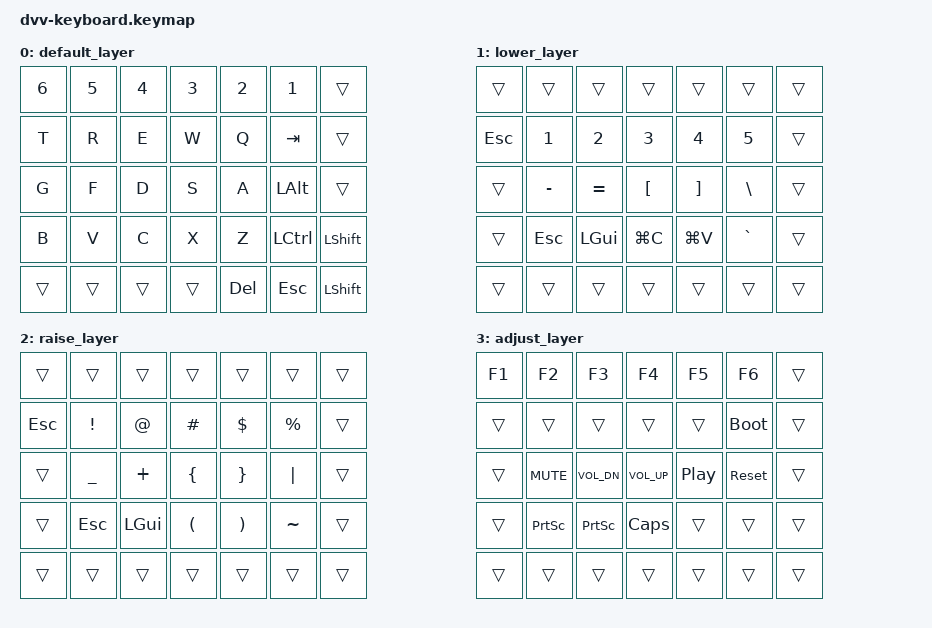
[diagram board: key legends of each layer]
/*
 * Copyright (c) 2021 The ZMK Contributors
 *
 * SPDX-License-Identifier: MIT
 */

#include <behaviors.dtsi>
#include <dt-bindings/zmk/keys.h>
#include <dt-bindings/zmk/bt.h>
#include <dt-bindings/zmk/ext_power.h>
#include <dt-bindings/zmk/outputs.h>

/ {
    keymap {
        compatible = "zmk,keymap";

        default_layer {
            /*
             * Левая половинка клавиатуры (7x5)
             * Столбцы: 1-7 (от центра к краям)
             * Ряды: 1-5 (сверху вниз)
             * 
             * ┌───┬───┬───┬───┬───┬───┬───┐
             * │ 6 │ 5 │ 4 │ 3 │ 2 │ 1 │   │  <- Ряд 1
             * ├───┼───┼───┼───┼───┼───┤   │
             * │ T │ R │ E │ W │ Q │TAB│   │  <- Ряд 2
             * ├───┼───┼───┼───┼───┼───┤   │
             * │ G │ F │ D │ S │ A │ALT│   │  <- Ряд 3
             * ├───┼───┼───┼───┼───┼───┤   │
             * │ B │ V │ C │ X │ Z │CTL│   │  <- Ряд 4
             * ├───┼───┼───┼───┼───┼───┤   │
             * │   │   │   │   │DEL│ESC│SFT│  <- Ряд 5 (островок)
             * └───┴───┴───┴───┴───┴───┴───┘
             *   1   2   3   4   5   6   7
             */
            bindings = <
                &kp N6    &kp N5    &kp N4    &kp N3    &kp N2    &kp N1    &trans
                &kp T     &kp R     &kp E     &kp W     &kp Q     &kp TAB   &trans
                &kp G     &kp F     &kp D     &kp S     &kp A     &kp LALT  &trans
                &kp B     &kp V     &kp C     &kp X     &kp Z     &kp LCTRL &kp LSHFT
                &trans    &trans    &trans    &trans    &kp DEL   &kp ESC   &kp LSHFT
            >;
        };

        lower_layer {
            /*
             * ┌───┬───┬───┬───┬───┬───┬───┐
             * │   │   │   │   │   │   │   │
             * ├───┼───┼───┼───┼───┼───┤   │
             * │ESC│ 1 │ 2 │ 3 │ 4 │ 5 │   │
             * ├───┼───┼───┼───┼───┼───┤   │
             * │   │ - │ = │ [ │ ] │ \ │   │
             * ├───┼───┼───┼───┼───┼───┤   │
             * │   │ESC│GUI│CPY│PST│   │   │
             * ├───┼───┼───┼───┼───┼───┤   │
             * │   │   │   │   │   │   │   │
             * └───┴───┴───┴───┴───┴───┴───┘
             */
            bindings = <
                &trans    &trans    &trans    &trans    &trans    &trans    &trans
                &kp ESC   &kp N1    &kp N2    &kp N3    &kp N4    &kp N5    &trans
                &trans    &kp MINUS &kp EQUAL &kp LBKT  &kp RBKT  &kp BSLH  &trans
                &trans    &kp ESC   &kp LGUI  &kp LG(C) &kp LG(V) &kp GRAVE &trans
                &trans    &trans    &trans    &trans    &trans    &trans    &trans
            >;
        };

        raise_layer {
            /*
             * ┌───┬───┬───┬───┬───┬───┬───┐
             * │   │   │   │   │   │   │   │
             * ├───┼───┼───┼───┼───┼───┤   │
             * │ESC│ ! │ @ │ # │ $ │ % │   │
             * ├───┼───┼───┼───┼───┼───┤   │
             * │   │ _ │ + │ { │ } │ | │   │
             * ├───┼───┼───┼───┼───┼───┤   │
             * │   │ESC│GUI│ ( │ ) │ ~ │   │
             * ├───┼───┼───┼───┼───┼───┤   │
             * │   │   │   │   │   │   │   │
             * └───┴───┴───┴───┴───┴───┴───┘
             */
            bindings = <
                &trans    &trans    &trans    &trans    &trans    &trans    &trans
                &kp ESC   &kp EXCL  &kp AT    &kp HASH  &kp DLLR  &kp PRCNT &trans
                &trans    &kp UNDER &kp PLUS  &kp LBRC  &kp RBRC  &kp PIPE  &trans
                &trans    &kp ESC   &kp LGUI  &kp LPAR  &kp RPAR  &kp TILDE &trans
                &trans    &trans    &trans    &trans    &trans    &trans    &trans
            >;
        };

        adjust_layer {
            /*
             * ┌───┬───┬───┬───┬───┬───┬───┐
             * │F1 │F2 │F3 │F4 │F5 │F6 │   │
             * ├───┼───┼───┼───┼───┼───┤   │
             * │   │   │   │   │   │BOOT│   │
             * ├───┼───┼───┼───┼───┼───┤   │
             * │   │MUT│V- │V+ │PP │RST│   │
             * ├───┼───┼───┼───┼───┼───┤   │
             * │   │PSC│PSC│CAP│   │   │   │
             * ├───┼───┼───┼───┼───┼───┤   │
             * │   │   │   │   │   │   │   │
             * └───┴───┴───┴───┴───┴───┴───┘
             */
            bindings = <
                &kp F1    &kp F2    &kp F3    &kp F4    &kp F5    &kp F6    &trans
                &trans    &trans    &trans    &trans    &trans    &bootloader &trans
                &trans    &kp K_MUTE &kp C_VOL_DN &kp C_VOL_UP &kp C_PLAY_PAUSE &sys_reset &trans
                &trans    &kp PSCRN &kp PSCRN &kp CLCK &trans &trans &trans
                &trans    &trans    &trans    &trans    &trans    &trans    &trans
            >;
        };
    };
};
